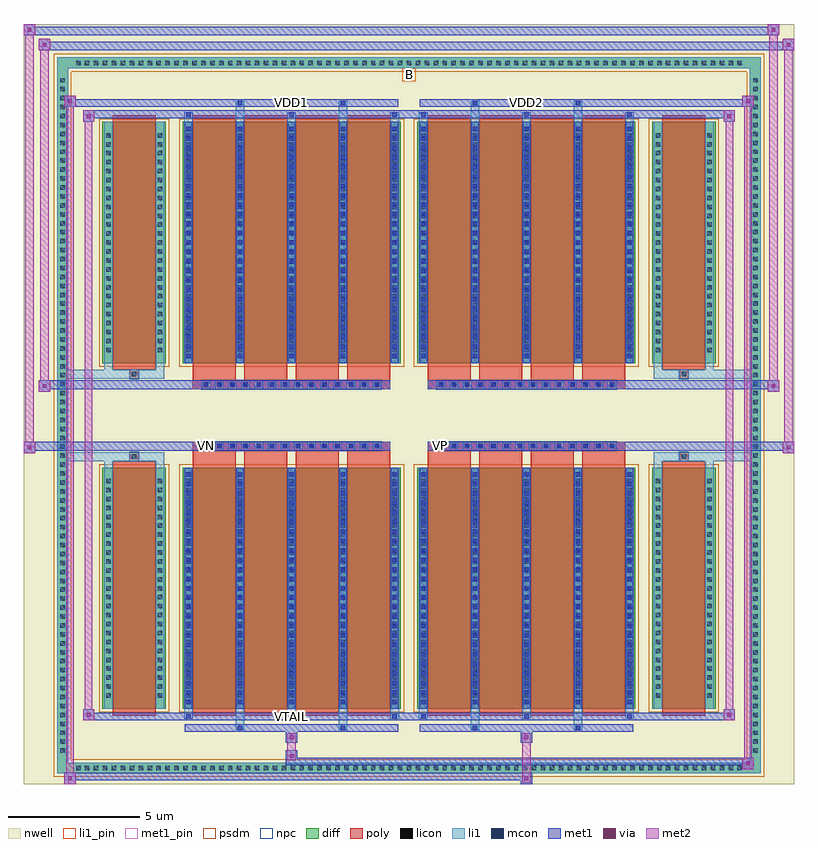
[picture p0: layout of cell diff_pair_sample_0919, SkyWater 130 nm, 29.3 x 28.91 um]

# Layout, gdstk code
import gdstk
lib = gdstk.Library(unit=1e-6, precision=5e-09)
def R(c, l, rs):  # rectangles x0, y0, x1, y1
    for r in rs: c.add(gdstk.rectangle(r[:2], r[2:], *l))
def A(c, l, x, y, w, h, nx, ny, dx, dy):  # array of equal rectangles
    R(c, l, [(x+i*dx, y+j*dy, x+i*dx+w, y+j*dy+h) for i in range(nx) for j in range(ny)])
def P(c, l, *ps):  # polygons
    for p in ps: c.add(gdstk.Polygon(p, *l))
nwell = (64, 20)
diff = (65, 20)
poly = (66, 20)
licon = (66, 44)
li1_pin = (67, 16)
li1 = (67, 20)
mcon = (67, 44)
met1_pin = (68, 16)
met1 = (68, 20)
via = (68, 44)
met2 = (69, 20)
psdm = (94, 20)
npc = (95, 20)

diff_pair_sample_0919 = lib.new_cell('diff_pair_sample_0919')
R(diff_pair_sample_0919, nwell, [(-14.65,-14.02,14.65,14.89), (-11.97,-12.21,-0.01,-0.805), (0.01,-12.21,11.97,-0.805), (-11.97,0.805,-0.01,12.21), (0.01,0.805,11.97,12.21)])
A(diff_pair_sample_0919, diff, -12.785, -13.62, 0.41, 0.41, 75, 2, 0.34, 26.83)
A(diff_pair_sample_0919, diff, -13.38, -12.955, 0.41, 0.41, 1, 76, 0, 0.34)
A(diff_pair_sample_0919, diff, 12.97, -12.955, 0.41, 0.41, 1, 76, 0, 0.34)
R(diff_pair_sample_0919, diff, [(-12.785,-13.62,12.785,-13.21), (-13.38,-12.955,-12.97,12.955), (12.97,-12.955,13.38,12.955), (-11.66,-11.165,-9.25,-1.985), (-8.61,-11.165,-0.32,-1.985), (0.32,-11.165,8.61,-1.985), (9.25,-11.165,11.66,-1.985), (-11.66,1.985,-9.25,11.165), (-8.61,1.985,-0.32,11.165), (0.32,1.985,8.61,11.165), (9.25,1.985,11.66,11.165), (-12.785,13.21,12.785,13.62)])
P(diff_pair_sample_0919, diff, [(13.38,13.62),(-13.38,13.62),(-13.38,-13.21),(-12.97,-13.21),(-12.97,13.21),(12.97,13.21),(12.97,-13.21),(-12.97,-13.21),(-13.38,-13.21),(-13.38,-13.62),(13.38,-13.62)])
A(diff_pair_sample_0919, poly, -8.22, -11.415, 1.63, 9.68, 4, 2, 1.96, 13.15)
A(diff_pair_sample_0919, poly, 0.71, -11.415, 1.63, 9.68, 4, 2, 1.96, 13.15)
A(diff_pair_sample_0919, poly, -8.22, -1.735, 1.63, 0.4, 4, 2, 1.96, 3.07)
A(diff_pair_sample_0919, poly, 0.71, -1.735, 1.63, 0.4, 4, 2, 1.96, 3.07)
A(diff_pair_sample_0919, poly, -7.88, -1.335, 0.33, 0.33, 14, 2, 0.5, 2.34)
A(diff_pair_sample_0919, poly, 1.05, -1.335, 0.33, 0.33, 14, 2, 0.5, 2.34)
R(diff_pair_sample_0919, poly, [(-11.27,-11.415,-9.64,-1.735), (9.64,-11.415,11.27,-1.735), (-10.62,-1.735,-10.29,-1.405), (-10.62,-1.735,-10.29,-1.405), (10.29,-1.735,10.62,-1.405), (10.29,-1.735,10.62,-1.405), (-8.22,-1.335,-0.71,-1.005), (0.71,-1.335,8.22,-1.005), (-8.22,1.005,-0.71,1.335), (0.71,1.005,8.22,1.335), (-10.62,1.405,-10.29,1.735), (-10.62,1.405,-10.29,1.735), (10.29,1.405,10.62,1.735), (10.29,1.405,10.62,1.735), (-11.27,1.735,-9.64,11.415), (9.64,1.735,11.27,11.415)])
A(diff_pair_sample_0919, licon, -12.665, -13.5, 0.17, 0.17, 75, 2, 0.34, 26.83)
A(diff_pair_sample_0919, licon, -13.26, -12.835, 0.17, 0.17, 1, 76, 0, 0.34)
A(diff_pair_sample_0919, licon, 13.09, -12.835, 0.17, 0.17, 1, 76, 0, 0.34)
A(diff_pair_sample_0919, licon, -11.52, -10.74, 0.17, 0.17, 1, 25, 0, 0.34)
A(diff_pair_sample_0919, licon, -9.56, -10.74, 0.17, 0.17, 1, 25, 0, 0.34)
A(diff_pair_sample_0919, licon, -8.47, -10.74, 0.17, 0.17, 5, 25, 1.96, 0.34)
A(diff_pair_sample_0919, licon, 0.46, -10.74, 0.17, 0.17, 5, 25, 1.96, 0.34)
A(diff_pair_sample_0919, licon, 9.39, -10.74, 0.17, 0.17, 1, 25, 0, 0.34)
A(diff_pair_sample_0919, licon, 11.35, -10.74, 0.17, 0.17, 1, 25, 0, 0.34)
A(diff_pair_sample_0919, licon, -7.8, -1.255, 0.17, 0.17, 14, 2, 0.5, 2.34)
A(diff_pair_sample_0919, licon, 1.13, -1.255, 0.17, 0.17, 14, 2, 0.5, 2.34)
A(diff_pair_sample_0919, licon, -11.52, 2.41, 0.17, 0.17, 1, 25, 0, 0.34)
A(diff_pair_sample_0919, licon, -9.56, 2.41, 0.17, 0.17, 1, 25, 0, 0.34)
A(diff_pair_sample_0919, licon, -8.47, 2.41, 0.17, 0.17, 5, 25, 1.96, 0.34)
A(diff_pair_sample_0919, licon, 0.46, 2.41, 0.17, 0.17, 5, 25, 1.96, 0.34)
A(diff_pair_sample_0919, licon, 9.39, 2.41, 0.17, 0.17, 1, 25, 0, 0.34)
A(diff_pair_sample_0919, licon, 11.35, 2.41, 0.17, 0.17, 1, 25, 0, 0.34)
R(diff_pair_sample_0919, licon, [(-10.54,-1.655,-10.37,-1.485), (10.37,-1.655,10.54,-1.485), (-10.54,1.485,-10.37,1.655), (10.37,1.485,10.54,1.655)])
R(diff_pair_sample_0919, li1_pin, [(-0.25,12.71,0.25,13.21)])
A(diff_pair_sample_0919, li1, -12.745, -13.58, 0.33, 0.33, 75, 2, 0.34, 26.83)
A(diff_pair_sample_0919, li1, -13.34, -12.915, 0.33, 0.33, 1, 76, 0, 0.34)
A(diff_pair_sample_0919, li1, 13.01, -12.915, 0.33, 0.33, 1, 76, 0, 0.34)
A(diff_pair_sample_0919, li1, -8.55, -11.54, 0.33, 0.375, 3, 2, 3.92, 22.705)
A(diff_pair_sample_0919, li1, -8.47, -11.54, 0.17, 0.17, 3, 2, 3.92, 22.91)
A(diff_pair_sample_0919, li1, 0.38, -11.54, 0.33, 0.375, 3, 2, 3.92, 22.705)
A(diff_pair_sample_0919, li1, 0.46, -11.54, 0.17, 0.17, 3, 2, 3.92, 22.91)
A(diff_pair_sample_0919, li1, -8.55, -11.165, 0.33, 9.18, 5, 2, 1.96, 13.15)
A(diff_pair_sample_0919, li1, 0.38, -11.165, 0.33, 9.18, 5, 2, 1.96, 13.15)
A(diff_pair_sample_0919, li1, -8.47, -10.98, 0.17, 0.17, 5, 25, 1.96, 0.36)
A(diff_pair_sample_0919, li1, -8.47, -10.98, 0.17, 8.81, 5, 2, 1.96, 13.15)
A(diff_pair_sample_0919, li1, 0.46, -10.98, 0.17, 0.17, 5, 25, 1.96, 0.36)
A(diff_pair_sample_0919, li1, 0.46, -10.98, 0.17, 8.81, 5, 2, 1.96, 13.15)
A(diff_pair_sample_0919, li1, -11.6, -10.82, 0.33, 0.33, 1, 25, 0, 0.34)
A(diff_pair_sample_0919, li1, -9.64, -10.82, 0.33, 0.33, 1, 25, 0, 0.34)
A(diff_pair_sample_0919, li1, -8.55, -10.82, 0.33, 0.33, 5, 25, 1.96, 0.34)
A(diff_pair_sample_0919, li1, 0.38, -10.82, 0.33, 0.33, 5, 25, 1.96, 0.34)
A(diff_pair_sample_0919, li1, 9.31, -10.82, 0.33, 0.33, 1, 25, 0, 0.34)
A(diff_pair_sample_0919, li1, 11.27, -10.82, 0.33, 0.33, 1, 25, 0, 0.34)
A(diff_pair_sample_0919, li1, -7.88, -1.335, 0.33, 0.33, 14, 2, 0.5, 2.34)
A(diff_pair_sample_0919, li1, 1.05, -1.335, 0.33, 0.33, 14, 2, 0.5, 2.34)
A(diff_pair_sample_0919, li1, -8.47, 2.17, 0.17, 0.17, 5, 25, 1.96, 0.36)
A(diff_pair_sample_0919, li1, 0.46, 2.17, 0.17, 0.17, 5, 25, 1.96, 0.36)
A(diff_pair_sample_0919, li1, -11.6, 2.33, 0.33, 0.33, 1, 25, 0, 0.34)
A(diff_pair_sample_0919, li1, -9.64, 2.33, 0.33, 0.33, 1, 25, 0, 0.34)
A(diff_pair_sample_0919, li1, -8.55, 2.33, 0.33, 0.33, 5, 25, 1.96, 0.34)
A(diff_pair_sample_0919, li1, 0.38, 2.33, 0.33, 0.33, 5, 25, 1.96, 0.34)
A(diff_pair_sample_0919, li1, 9.31, 2.33, 0.33, 0.33, 1, 25, 0, 0.34)
A(diff_pair_sample_0919, li1, 11.27, 2.33, 0.33, 0.33, 1, 25, 0, 0.34)
R(diff_pair_sample_0919, li1, [(-13.38,-13.62,-12.97,-13.21), (-13.38,-13.62,-12.97,-13.21), (-12.97,-13.62,12.97,-13.21), (12.97,-13.62,13.38,-13.21), (12.97,-13.62,13.38,-13.21), (-13.38,-13.21,-12.97,13.21), (12.97,-13.21,13.38,13.21), (-6.59,-11.97,-6.26,-11.165), (-6.51,-11.97,-6.34,-11.8), (-2.67,-11.97,-2.34,-11.165), (-2.59,-11.97,-2.42,-11.8), (2.34,-11.97,2.67,-11.165), (2.42,-11.97,2.59,-11.8), (6.26,-11.97,6.59,-11.165), (6.34,-11.97,6.51,-11.8), (-11.6,-11.165,-11.27,-1.985), (-9.64,-11.165,-9.31,-1.985), (9.31,-11.165,9.64,-1.985), (11.27,-11.165,11.6,-1.985), (-11.6,-1.985,-11.27,-1.405), (-9.64,-1.985,-9.31,-1.405), (9.31,-1.985,9.64,-1.405), (11.27,-1.985,11.6,-1.405), (-13.38,-1.735,-10.62,-1.405), (-11.6,-1.735,-10.62,-1.405), (-10.62,-1.735,-10.29,-1.405), (-10.29,-1.735,-9.31,-1.405), (9.31,-1.735,10.29,-1.405), (10.29,-1.735,10.62,-1.405), (10.29,-1.735,13.38,-1.405), (10.62,-1.735,11.6,-1.405), (-13.38,1.405,-10.62,1.735), (-11.6,1.405,-10.62,1.735), (-11.6,1.405,-11.27,1.985), (-10.62,1.405,-10.29,1.735), (-10.29,1.405,-9.31,1.735), (-9.64,1.405,-9.31,1.985), (9.31,1.405,10.29,1.735), (9.31,1.405,9.64,1.985), (10.29,1.405,10.62,1.735), (10.29,1.405,13.38,1.735), (10.62,1.405,11.6,1.735), (11.27,1.405,11.6,1.985), (-11.6,1.985,-11.27,11.165), (-9.64,1.985,-9.31,11.165), (9.31,1.985,9.64,11.165), (11.27,1.985,11.6,11.165), (-6.59,11.165,-6.26,11.97), (-2.67,11.165,-2.34,11.97), (2.34,11.165,2.67,11.97), (6.26,11.165,6.59,11.97), (-6.51,11.8,-6.34,11.97), (-2.59,11.8,-2.42,11.97), (2.42,11.8,2.59,11.97), (6.34,11.8,6.51,11.97), (-13.38,13.21,-12.97,13.62), (-13.38,13.21,-12.97,13.62), (-12.97,13.21,12.97,13.62), (12.97,13.21,13.38,13.62), (12.97,13.21,13.38,13.62)])
A(diff_pair_sample_0919, mcon, -8.47, -11.54, 0.17, 0.17, 3, 2, 3.92, 22.91)
A(diff_pair_sample_0919, mcon, 0.46, -11.54, 0.17, 0.17, 3, 2, 3.92, 22.91)
A(diff_pair_sample_0919, mcon, -8.47, -10.98, 0.17, 0.17, 5, 25, 1.96, 0.36)
A(diff_pair_sample_0919, mcon, 0.46, -10.98, 0.17, 0.17, 5, 25, 1.96, 0.36)
A(diff_pair_sample_0919, mcon, -7.8, -1.255, 0.17, 0.17, 14, 2, 0.5, 2.34)
A(diff_pair_sample_0919, mcon, 1.13, -1.255, 0.17, 0.17, 14, 2, 0.5, 2.34)
A(diff_pair_sample_0919, mcon, -8.47, 2.17, 0.17, 0.17, 5, 25, 1.96, 0.36)
A(diff_pair_sample_0919, mcon, 0.46, 2.17, 0.17, 0.17, 5, 25, 1.96, 0.36)
R(diff_pair_sample_0919, mcon, [(-6.51,-11.97,-6.34,-11.8), (-2.59,-11.97,-2.42,-11.8), (2.42,-11.97,2.59,-11.8), (6.34,-11.97,6.51,-11.8), (-6.51,11.8,-6.34,11.97), (-2.59,11.8,-2.42,11.97), (2.42,11.8,2.59,11.97), (6.34,11.8,6.51,11.97)])
R(diff_pair_sample_0919, met1_pin, [(-4.6,-11.58,-4.33,-11.31), (-7.85,-1.295,-7.58,-1.025), (1.08,-1.295,1.35,-1.025), (-4.6,11.76,-4.33,12.03), (4.33,11.76,4.6,12.03)])
A(diff_pair_sample_0919, met1, -8.53, -11.6, 0.29, 0.29, 3, 2, 3.92, 22.91)
A(diff_pair_sample_0919, met1, 0.4, -11.6, 0.29, 0.29, 3, 2, 3.92, 22.91)
A(diff_pair_sample_0919, met1, -8.53, -11.165, 0.29, 9.18, 5, 2, 1.96, 13.15)
A(diff_pair_sample_0919, met1, 0.4, -11.165, 0.29, 9.18, 5, 2, 1.96, 13.15)
A(diff_pair_sample_0919, met1, -8.53, -11.04, 0.29, 0.29, 5, 25, 1.96, 0.36)
A(diff_pair_sample_0919, met1, 0.4, -11.04, 0.29, 0.29, 5, 25, 1.96, 0.36)
A(diff_pair_sample_0919, met1, -7.86, -1.315, 0.29, 0.29, 14, 2, 0.5, 2.34)
A(diff_pair_sample_0919, met1, 1.07, -1.315, 0.29, 0.29, 14, 2, 0.5, 2.34)
A(diff_pair_sample_0919, met1, -8.53, 2.11, 0.29, 0.29, 5, 25, 1.96, 0.36)
A(diff_pair_sample_0919, met1, 0.4, 2.11, 0.29, 0.29, 5, 25, 1.96, 0.36)
R(diff_pair_sample_0919, met1, [(-13.11,-14.02,-12.68,-13.59), (4.25,-14.02,4.68,-13.59), (-13.11,-13.88,4.68,-13.59), (12.68,-13.45,13.11,-13.02), (-4.68,-13.31,13.11,-13.02), (-4.68,-13.17,-4.25,-12.74), (-4.68,-12.46,-4.25,-12.03), (4.25,-12.46,4.68,-12.03), (-8.53,-12.03,-0.4,-11.74), (-6.57,-12.03,-6.28,-11.74), (-2.65,-12.03,-2.36,-11.74), (0.4,-12.03,8.53,-11.74), (2.36,-12.03,2.65,-11.74), (6.28,-12.03,6.57,-11.74), (-12.4,-11.6,-11.97,-11.17), (-12.4,-11.6,-8.53,-11.31), (-8.53,-11.6,-0.4,-11.31), (-0.4,-11.6,0.4,-11.31), (0.4,-11.6,8.53,-11.31), (8.53,-11.6,12.4,-11.31), (11.97,-11.6,12.4,-11.17), (-14.65,-1.435,-14.22,-1.005), (14.22,-1.435,14.65,-1.005), (-14.65,-1.335,-0.71,-1.005), (-8.22,-1.335,-0.71,-1.005), (0.71,-1.335,8.22,-1.005), (0.71,-1.335,14.65,-1.005), (-14.08,0.905,-13.65,1.335), (13.65,0.905,14.08,1.335), (-14.08,1.005,-8.22,1.335), (-8.22,1.005,-0.71,1.335), (0.71,1.005,8.22,1.335), (8.22,1.005,14.08,1.335), (-12.4,11.17,-11.97,11.6), (11.97,11.17,12.4,11.6), (-12.4,11.31,-8.53,11.6), (-8.53,11.31,-0.4,11.6), (-0.4,11.31,0.4,11.6), (0.4,11.31,8.53,11.6), (8.53,11.31,12.4,11.6), (-13.11,11.74,-12.68,12.17), (-13.11,11.74,-8.53,12.03), (-8.53,11.74,-0.4,12.03), (-6.57,11.74,-6.28,12.03), (-2.65,11.74,-2.36,12.03), (0.4,11.74,8.53,12.03), (2.36,11.74,2.65,12.03), (6.28,11.74,6.57,12.03), (8.53,11.74,13.11,12.03), (12.68,11.74,13.11,12.17), (-14.08,13.89,-13.65,14.32), (-14.08,13.89,-11.97,14.22), (-11.97,13.89,11.97,14.22), (11.97,13.89,14.65,14.22), (14.22,13.89,14.65,14.32), (-14.65,14.46,-14.22,14.89), (-14.65,14.46,-11.97,14.79), (-11.97,14.46,11.97,14.79), (11.97,14.46,14.08,14.79), (13.65,14.46,14.08,14.89)])
R(diff_pair_sample_0919, via, [(-12.97,-13.88,-12.82,-13.73), (4.39,-13.88,4.54,-13.73), (12.82,-13.31,12.97,-13.16), (-4.54,-13.03,-4.39,-12.88), (-4.54,-12.32,-4.39,-12.17), (4.39,-12.32,4.54,-12.17), (-12.26,-11.46,-12.11,-11.31), (12.11,-11.46,12.26,-11.31), (-14.51,-1.295,-14.36,-1.145), (14.36,-1.295,14.51,-1.145), (-13.94,1.045,-13.79,1.195), (13.79,1.045,13.94,1.195), (-12.26,11.31,-12.11,11.46), (12.11,11.31,12.26,11.46), (-12.97,11.88,-12.82,12.03), (12.82,11.88,12.97,12.03), (-13.94,14.03,-13.79,14.18), (14.36,14.03,14.51,14.18), (-14.51,14.6,-14.36,14.75), (13.79,14.6,13.94,14.75)])
R(diff_pair_sample_0919, met2, [(-13.11,-14.02,-12.68,-13.59), (-13.04,-14.02,-12.75,12.17), (-12.75,-14.02,-12.68,-13.59), (-13.06,-13.97,-12.73,-13.64), (4.3,-13.97,4.63,-13.64), (4.3,-13.64,4.63,-12.41), (12.68,-13.45,13.11,-13.02), (12.75,-13.45,13.04,12.17), (13.04,-13.45,13.11,-13.02), (12.73,-13.4,13.06,-13.07), (-4.63,-13.12,-4.3,-12.79), (-4.63,-12.79,-4.3,-12.41), (-4.63,-12.41,-4.3,-12.08), (4.3,-12.41,4.63,-12.08), (-12.4,-11.6,-11.97,-11.17), (-12.33,-11.6,-12.04,11.6), (-12.04,-11.6,-11.97,-11.17), (11.97,-11.6,12.4,-11.17), (12.04,-11.6,12.33,11.6), (12.33,-11.6,12.4,-11.17), (-12.35,-11.55,-12.02,-11.22), (12.02,-11.55,12.35,-11.22), (-14.65,-1.435,-14.22,-1.005), (-14.6,-1.435,-14.27,14.89), (-14.27,-1.435,-14.22,-1.005), (14.22,-1.435,14.65,-1.005), (14.27,-1.435,14.6,14.32), (14.6,-1.435,14.65,-1.005), (-14.6,-1.385,-14.27,-1.055), (14.27,-1.385,14.6,-1.055), (-14.08,0.905,-13.65,1.335), (-14.03,0.905,-13.7,14.32), (-13.7,0.905,-13.65,1.335), (13.65,0.905,14.08,1.335), (13.7,0.905,14.03,14.89), (14.03,0.905,14.08,1.335), (-14.03,0.955,-13.7,1.285), (13.7,0.955,14.03,1.285), (-12.4,11.17,-11.97,11.6), (-12.04,11.17,-11.97,11.6), (11.97,11.17,12.4,11.6), (12.33,11.17,12.4,11.6), (-12.35,11.22,-12.02,11.55), (12.02,11.22,12.35,11.55), (-13.11,11.74,-12.68,12.17), (-12.75,11.74,-12.68,12.17), (12.68,11.74,13.11,12.17), (13.04,11.74,13.11,12.17), (-13.06,11.79,-12.73,12.12), (12.73,11.79,13.06,12.12), (-14.08,13.89,-13.65,14.32), (-13.7,13.89,-13.65,14.32), (14.22,13.89,14.65,14.32), (14.6,13.89,14.65,14.32), (-14.03,13.94,-13.7,14.27), (14.27,13.94,14.6,14.27), (-14.65,14.46,-14.22,14.89), (-14.27,14.46,-14.22,14.89), (13.65,14.46,14.08,14.89), (14.03,14.46,14.08,14.89), (-14.6,14.51,-14.27,14.84), (13.7,14.51,14.03,14.84)])
R(diff_pair_sample_0919, psdm, [(-11.79,-11.295,-9.12,-1.855), (-8.74,-11.295,-0.19,-1.855), (0.19,-11.295,8.74,-1.855), (9.12,-11.295,11.79,-1.855), (-11.79,1.855,-9.12,11.295), (-8.74,1.855,-0.19,11.295), (0.19,1.855,8.74,11.295), (9.12,1.855,11.79,11.295)])
P(diff_pair_sample_0919, psdm, [(13.51,13.75),(-13.51,13.75),(-13.51,-13.08),(-12.84,-13.08),(-12.84,13.08),(12.84,13.08),(12.84,-13.08),(-12.84,-13.08),(-13.51,-13.08),(-13.51,-13.75),(13.51,-13.75)])
A(diff_pair_sample_0919, npc, -7.9, -1.355, 0.37, 0.37, 14, 2, 0.5, 2.34)
A(diff_pair_sample_0919, npc, 1.03, -1.355, 0.37, 0.37, 14, 2, 0.5, 2.34)
R(diff_pair_sample_0919, npc, [(-10.64,-1.755,-10.27,-1.385), (10.27,-1.755,10.64,-1.385), (-7.9,-1.355,-7.03,-0.985), (-7.9,-1.355,-7.03,-0.985), (-7.4,-1.355,-6.53,-0.985), (-7.4,-1.355,-6.53,-0.985), (-6.9,-1.355,-6.03,-0.985), (-6.9,-1.355,-6.03,-0.985), (-6.4,-1.355,-5.53,-0.985), (-6.4,-1.355,-5.53,-0.985), (-5.9,-1.355,-5.03,-0.985), (-5.9,-1.355,-5.03,-0.985), (-5.4,-1.355,-4.53,-0.985), (-5.4,-1.355,-4.53,-0.985), (-4.9,-1.355,-4.03,-0.985), (-4.9,-1.355,-4.03,-0.985), (-4.4,-1.355,-3.53,-0.985), (-4.4,-1.355,-3.53,-0.985), (-3.9,-1.355,-3.03,-0.985), (-3.9,-1.355,-3.03,-0.985), (-3.4,-1.355,-2.53,-0.985), (-3.4,-1.355,-2.53,-0.985), (-2.9,-1.355,-2.03,-0.985), (-2.9,-1.355,-2.03,-0.985), (-2.4,-1.355,-1.53,-0.985), (-2.4,-1.355,-1.53,-0.985), (-1.9,-1.355,-1.03,-0.985), (-1.9,-1.355,-1.03,-0.985), (1.03,-1.355,1.9,-0.985), (1.03,-1.355,1.9,-0.985), (1.53,-1.355,2.4,-0.985), (1.53,-1.355,2.4,-0.985), (2.03,-1.355,2.9,-0.985), (2.03,-1.355,2.9,-0.985), (2.53,-1.355,3.4,-0.985), (2.53,-1.355,3.4,-0.985), (3.03,-1.355,3.9,-0.985), (3.03,-1.355,3.9,-0.985), (3.53,-1.355,4.4,-0.985), (3.53,-1.355,4.4,-0.985), (4.03,-1.355,4.9,-0.985), (4.03,-1.355,4.9,-0.985), (4.53,-1.355,5.4,-0.985), (4.53,-1.355,5.4,-0.985), (5.03,-1.355,5.9,-0.985), (5.03,-1.355,5.9,-0.985), (5.53,-1.355,6.4,-0.985), (5.53,-1.355,6.4,-0.985), (6.03,-1.355,6.9,-0.985), (6.03,-1.355,6.9,-0.985), (6.53,-1.355,7.4,-0.985), (6.53,-1.355,7.4,-0.985), (7.03,-1.355,7.9,-0.985), (7.03,-1.355,7.9,-0.985), (-7.9,0.985,-7.03,1.355), (-7.9,0.985,-7.03,1.355), (-7.4,0.985,-6.53,1.355), (-7.4,0.985,-6.53,1.355), (-6.9,0.985,-6.03,1.355), (-6.9,0.985,-6.03,1.355), (-6.4,0.985,-5.53,1.355), (-6.4,0.985,-5.53,1.355), (-5.9,0.985,-5.03,1.355), (-5.9,0.985,-5.03,1.355), (-5.4,0.985,-4.53,1.355), (-5.4,0.985,-4.53,1.355), (-4.9,0.985,-4.03,1.355), (-4.9,0.985,-4.03,1.355), (-4.4,0.985,-3.53,1.355), (-4.4,0.985,-3.53,1.355), (-3.9,0.985,-3.03,1.355), (-3.9,0.985,-3.03,1.355), (-3.4,0.985,-2.53,1.355), (-3.4,0.985,-2.53,1.355), (-2.9,0.985,-2.03,1.355), (-2.9,0.985,-2.03,1.355), (-2.4,0.985,-1.53,1.355), (-2.4,0.985,-1.53,1.355), (-1.9,0.985,-1.03,1.355), (-1.9,0.985,-1.03,1.355), (1.03,0.985,1.9,1.355), (1.03,0.985,1.9,1.355), (1.53,0.985,2.4,1.355), (1.53,0.985,2.4,1.355), (2.03,0.985,2.9,1.355), (2.03,0.985,2.9,1.355), (2.53,0.985,3.4,1.355), (2.53,0.985,3.4,1.355), (3.03,0.985,3.9,1.355), (3.03,0.985,3.9,1.355), (3.53,0.985,4.4,1.355), (3.53,0.985,4.4,1.355), (4.03,0.985,4.9,1.355), (4.03,0.985,4.9,1.355), (4.53,0.985,5.4,1.355), (4.53,0.985,5.4,1.355), (5.03,0.985,5.9,1.355), (5.03,0.985,5.9,1.355), (5.53,0.985,6.4,1.355), (5.53,0.985,6.4,1.355), (6.03,0.985,6.9,1.355), (6.03,0.985,6.9,1.355), (6.53,0.985,7.4,1.355), (6.53,0.985,7.4,1.355), (7.03,0.985,7.9,1.355), (7.03,0.985,7.9,1.355), (-10.64,1.385,-10.27,1.755), (10.27,1.385,10.64,1.755)])
diff_pair_sample_0919.add(gdstk.Label('VTAIL', (-4.465,-11.445), layer=68, texttype=5))
diff_pair_sample_0919.add(gdstk.Label('VN', (-7.715,-1.16), layer=68, texttype=5))
diff_pair_sample_0919.add(gdstk.Label('VP', (1.215,-1.16), layer=68, texttype=5))
diff_pair_sample_0919.add(gdstk.Label('B', (0,12.96), layer=67, texttype=5))
diff_pair_sample_0919.add(gdstk.Label('VDD2', (4.465,11.895), layer=68, texttype=5))
diff_pair_sample_0919.add(gdstk.Label('VDD1', (-4.465,11.895), layer=68, texttype=5))

lib.write_gds('diff_pair_sample_0919.gds')
